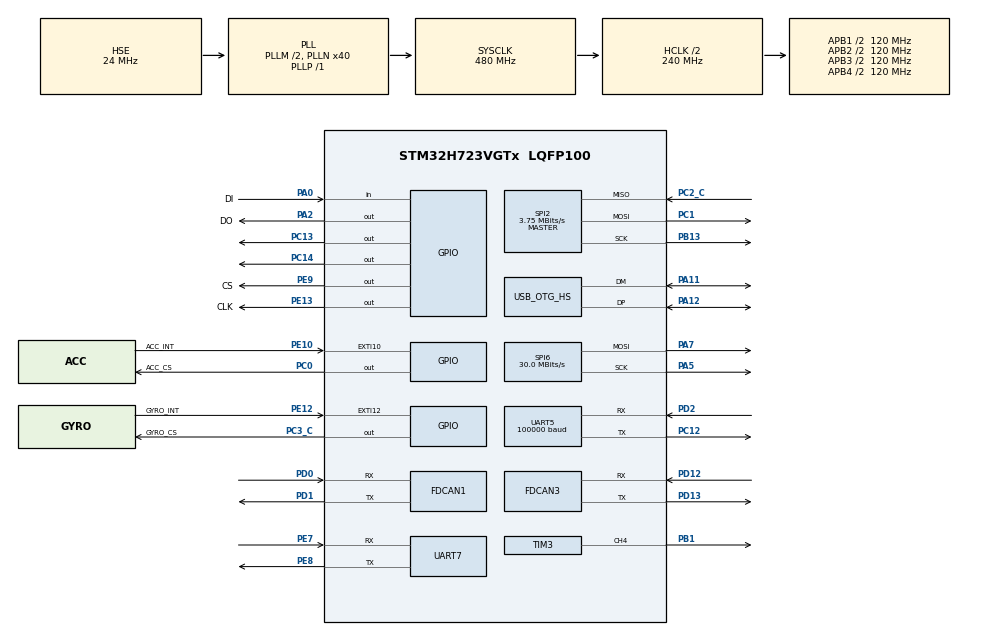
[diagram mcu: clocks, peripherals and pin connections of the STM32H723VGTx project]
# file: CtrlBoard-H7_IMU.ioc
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Dma.Request0=SPI2_RX
Dma.Request1=SPI2_TX
Dma.Request2=UART5_RX
Dma.Request3=UART7_RX
Dma.SPI2_RX.0.Direction=DMA_PERIPH_TO_MEMORY
Dma.SPI2_RX.0.EventEnable=DISABLE
Dma.SPI2_RX.0.FIFOMode=DMA_FIFOMODE_DISABLE
Dma.SPI2_RX.0.Instance=DMA1_Stream0
Dma.SPI2_RX.0.MemDataAlignment=DMA_MDATAALIGN_BYTE
Dma.SPI2_RX.0.MemInc=DMA_MINC_ENABLE
Dma.SPI2_RX.0.Mode=DMA_NORMAL
Dma.SPI2_RX.0.PeriphDataAlignment=DMA_PDATAALIGN_BYTE
Dma.SPI2_RX.0.PeriphInc=DMA_PINC_DISABLE
Dma.SPI2_RX.0.Polarity=HAL_DMAMUX_REQ_GEN_RISING
Dma.SPI2_RX.0.Priority=DMA_PRIORITY_VERY_HIGH
Dma.SPI2_RX.0.RequestNumber=1
Dma.SPI2_RX.0.SignalID=NONE
Dma.SPI2_RX.0.SyncEnable=DISABLE
Dma.SPI2_RX.0.SyncPolarity=HAL_DMAMUX_SYNC_NO_EVENT
Dma.SPI2_RX.0.SyncRequestNumber=1
Dma.SPI2_RX.0.SyncSignalID=NONE
Dma.SPI2_TX.1.Direction=DMA_MEMORY_TO_PERIPH
Dma.SPI2_TX.1.EventEnable=DISABLE
Dma.SPI2_TX.1.FIFOMode=DMA_FIFOMODE_DISABLE
Dma.SPI2_TX.1.Instance=DMA1_Stream1
Dma.SPI2_TX.1.MemDataAlignment=DMA_MDATAALIGN_BYTE
Dma.SPI2_TX.1.MemInc=DMA_MINC_ENABLE
Dma.SPI2_TX.1.Mode=DMA_NORMAL
Dma.SPI2_TX.1.PeriphDataAlignment=DMA_PDATAALIGN_BYTE
Dma.SPI2_TX.1.PeriphInc=DMA_PINC_DISABLE
Dma.SPI2_TX.1.Polarity=HAL_DMAMUX_REQ_GEN_RISING
Dma.SPI2_TX.1.Priority=DMA_PRIORITY_HIGH
Dma.SPI2_TX.1.RequestNumber=1
Dma.SPI2_TX.1.SignalID=NONE
Dma.SPI2_TX.1.SyncEnable=DISABLE
Dma.SPI2_TX.1.SyncPolarity=HAL_DMAMUX_SYNC_NO_EVENT
Dma.SPI2_TX.1.SyncRequestNumber=1
Dma.SPI2_TX.1.SyncSignalID=NONE
Dma.UART5_RX.2.Direction=DMA_PERIPH_TO_MEMORY
Dma.UART5_RX.2.EventEnable=DISABLE
Dma.UART5_RX.2.FIFOMode=DMA_FIFOMODE_DISABLE
Dma.UART5_RX.2.Instance=DMA1_Stream2
Dma.UART5_RX.2.MemDataAlignment=DMA_MDATAALIGN_BYTE
Dma.UART5_RX.2.MemInc=DMA_MINC_ENABLE
Dma.UART5_RX.2.Mode=DMA_NORMAL
Dma.UART5_RX.2.PeriphDataAlignment=DMA_PDATAALIGN_BYTE
Dma.UART5_RX.2.PeriphInc=DMA_PINC_DISABLE
Dma.UART5_RX.2.Polarity=HAL_DMAMUX_REQ_GEN_RISING
Dma.UART5_RX.2.Priority=DMA_PRIORITY_HIGH
Dma.UART5_RX.2.RequestNumber=1
Dma.UART5_RX.2.SignalID=NONE
Dma.UART5_RX.2.SyncEnable=DISABLE
Dma.UART5_RX.2.SyncPolarity=HAL_DMAMUX_SYNC_NO_EVENT
Dma.UART5_RX.2.SyncRequestNumber=1
Dma.UART5_RX.2.SyncSignalID=NONE
Dma.UART7_RX.3.Direction=DMA_PERIPH_TO_MEMORY
Dma.UART7_RX.3.EventEnable=DISABLE
Dma.UART7_RX.3.FIFOMode=DMA_FIFOMODE_DISABLE
Dma.UART7_RX.3.Instance=DMA1_Stream3
Dma.UART7_RX.3.MemDataAlignment=DMA_MDATAALIGN_BYTE
Dma.UART7_RX.3.MemInc=DMA_MINC_ENABLE
Dma.UART7_RX.3.Mode=DMA_NORMAL
Dma.UART7_RX.3.PeriphDataAlignment=DMA_PDATAALIGN_BYTE
Dma.UART7_RX.3.PeriphInc=DMA_PINC_DISABLE
Dma.UART7_RX.3.Polarity=HAL_DMAMUX_REQ_GEN_RISING
Dma.UART7_RX.3.Priority=DMA_PRIORITY_LOW
Dma.UART7_RX.3.RequestNumber=1
Dma.UART7_RX.3.SignalID=NONE
Dma.UART7_RX.3.SyncEnable=DISABLE
Dma.UART7_RX.3.SyncPolarity=HAL_DMAMUX_SYNC_NO_EVENT
Dma.UART7_RX.3.SyncRequestNumber=1
Dma.UART7_RX.3.SyncSignalID=NONE
FDCAN1.CalculateBaudRateNominal=1000000
FDCAN1.CalculateTimeBitNominal=1000
FDCAN1.CalculateTimeQuantumNominal=200.0
FDCAN1.DataPrescaler=1
FDCAN1.DataSyncJumpWidth=5
FDCAN1.DataTimeSeg1=14
FDCAN1.DataTimeSeg2=5
FDCAN1.ExtFiltersNbr=0
FDCAN1.FrameFormat=FDCAN_FRAME_FD_BRS
FDCAN1.NominalPrescaler=24
FDCAN1.NominalSyncJumpWidth=5
FDCAN1.NominalTimeSeg1=2
FDCAN1.NominalTimeSeg2=2
FDCAN1.ProtocolException=DISABLE
FDCAN1.RxFifo0ElmtSize=FDCAN_DATA_BYTES_8
FDCAN1.RxFifo0ElmtsNbr=0
FDCAN1.RxFifo1ElmtSize=FDCAN_DATA_BYTES_8
FDCAN1.RxFifo1ElmtsNbr=8
FDCAN1.StdFiltersNbr=1
FDCAN1.TxElmtSize=FDCAN_DATA_BYTES_8
FDCAN1.TxFifoQueueElmtsNbr=32
FDCAN3.CalculateBaudRateNominal=1000000
FDCAN3.CalculateTimeBitNominal=1000
FDCAN3.CalculateTimeQuantumNominal=200.0
FDCAN3.DataPrescaler=5
FDCAN3.DataSyncJumpWidth=1
FDCAN3.DataTimeSeg1=14
FDCAN3.DataTimeSeg2=5
FDCAN3.ExtFiltersNbr=5
FDCAN3.MessageRAMOffset=854
FDCAN3.NominalPrescaler=24
FDCAN3.NominalSyncJumpWidth=1
FDCAN3.NominalTimeSeg1=2
FDCAN3.NominalTimeSeg2=2
FDCAN3.ProtocolException=DISABLE
FDCAN3.RxFifo0ElmtsNbr=8
FDCAN3.RxFifo1ElmtsNbr=0
FDCAN3.StdFiltersNbr=5
FDCAN3.TransmitPause=DISABLE
FDCAN3.TxElmtSize=FDCAN_DATA_BYTES_8
FDCAN3.TxFifoQueueElmtsNbr=32
FREERTOS.MEMORY_ALLOCATION=0
FREERTOS.Tasks01=defaultTask,0,128,StartDefaultTask,Default,NULL,Dynamic,NULL,NULL;INS_TASK,3,512,INS_Task,Default,NULL,Dynamic,NULL,NULL;CHASSISR_TASK,1,512,ChassisR_Task,Default,NULL,Dynamic,NULL,NULL;CHASSISL_TASK,1,512,ChassisL_Task,Default,NULL,Dynamic,NULL,NULL;OBSERVE_TASK,2,512,OBSERVE_Task,Default,NULL,Dynamic,NULL,NULL;PS2_TASK,1,128,PS2_Task,Default,NULL,Dynamic,NULL,NULL;GIMBAL_TASK,1,128,gimbal_task,Default,NULL,Dynamic,NULL,NULL
FREERTOS.configENABLE_FPU=1
FREERTOS.configTOTAL_HEAP_SIZE=30720
Mcu.Family=STM32H7
Mcu.Name=STM32H723VGTx
Mcu.Package=LQFP100
NVIC.DMA1_Stream0_IRQn=true\:6\:0\:true\:false\:true\:true\:false\:true\:true
NVIC.DMA1_Stream1_IRQn=true\:6\:0\:true\:false\:true\:true\:false\:true\:true
NVIC.DMA1_Stream2_IRQn=true\:5\:0\:false\:false\:true\:true\:false\:true\:true
NVIC.DMA1_Stream3_IRQn=true\:5\:0\:false\:false\:true\:true\:false\:true\:true
NVIC.FDCAN1_IT0_IRQn=true\:6\:0\:true\:false\:true\:true\:true\:true\:true
NVIC.FDCAN1_IT1_IRQn=true\:5\:0\:false\:false\:true\:true\:true\:true\:true
NVIC.FDCAN3_IT0_IRQn=true\:5\:0\:false\:false\:true\:true\:true\:true\:true
NVIC.FDCAN3_IT1_IRQn=true\:5\:0\:false\:false\:true\:true\:true\:true\:true
NVIC.OTG_HS_IRQn=true\:5\:0\:false\:false\:true\:true\:false\:true\:true
NVIC.PriorityGroup=NVIC_PRIORITYGROUP_4
NVIC.SPI2_IRQn=true\:5\:0\:true\:false\:true\:true\:false\:true\:true
NVIC.TIM2_IRQn=true\:15\:0\:false\:false\:true\:false\:false\:true\:true
NVIC.TimeBase=TIM2_IRQn
NVIC.TimeBaseIP=TIM2
NVIC.UART5_IRQn=true\:5\:0\:false\:false\:true\:true\:true\:true\:true
NVIC.UART7_IRQn=true\:5\:0\:false\:false\:true\:true\:true\:true\:true
PA0.GPIO_Label=DI
PA0.GPIO_PuPd=GPIO_PULLUP
PA0.Signal=GPIO_Input
PA11.Mode=Device_Only_FS
PA11.Signal=USB_OTG_HS_DM
PA12.Mode=Device_Only_FS
PA12.Signal=USB_OTG_HS_DP
PA13(JTMS/SWDIO).Mode=Serial_Wire
PA13(JTMS/SWDIO).Signal=DEBUG_JTMS-SWDIO
PA14(JTCK/SWCLK).Mode=Serial_Wire
PA14(JTCK/SWCLK).Signal=DEBUG_JTCK-SWCLK
PA2.GPIO_Label=DO
PA2.GPIO_PuPd=GPIO_PULLUP
PA2.GPIO_Speed=GPIO_SPEED_FREQ_VERY_HIGH
PA2.PinState=GPIO_PIN_SET
PA2.Signal=GPIO_Output
PA5.Mode=TX_Only_Simplex_Unidirect_Master
PA5.Signal=SPI6_SCK
PA7.Mode=TX_Only_Simplex_Unidirect_Master
PA7.Signal=SPI6_MOSI
PB1.Signal=S_TIM3_CH4
PB13.GPIO_Speed=GPIO_SPEED_FREQ_VERY_HIGH
PB13.Mode=Full_Duplex_Master
PB13.Signal=SPI2_SCK
PB5.Signal=FDCAN2_RX
PC0.GPIO_Label=ACC_CS
PC0.GPIO_Speed=GPIO_SPEED_FREQ_VERY_HIGH
PC0.PinState=GPIO_PIN_SET
PC0.Signal=GPIO_Output
PC1.GPIO_Speed=GPIO_SPEED_FREQ_VERY_HIGH
PC1.Mode=Full_Duplex_Master
PC1.Signal=SPI2_MOSI
PC12.Mode=Asynchronous
PC12.Signal=UART5_TX
PC13.Signal=GPIO_Output
PC14-OSC32_IN.Signal=GPIO_Output
PC2_C.GPIO_Speed=GPIO_SPEED_FREQ_VERY_HIGH
PC2_C.Mode=Full_Duplex_Master
PC2_C.Signal=SPI2_MISO
PC3_C.GPIO_Label=GYRO_CS
PC3_C.GPIO_Speed=GPIO_SPEED_FREQ_VERY_HIGH
PC3_C.PinState=GPIO_PIN_SET
PC3_C.Signal=GPIO_Output
PD0.Mode=FDCAN_Activate
PD0.Signal=FDCAN1_RX
PD1.Mode=FDCAN_Activate
PD1.Signal=FDCAN1_TX
PD12.Mode=FDCAN_Activate
PD12.Signal=FDCAN3_RX
PD13.Mode=FDCAN_Activate
PD13.Signal=FDCAN3_TX
PD2.Mode=Asynchronous
PD2.Signal=UART5_RX
PE10.GPIO_Label=ACC_INT
PE10.Signal=GPXTI10
PE12.GPIO_Label=GYRO_INT
PE12.Signal=GPXTI12
PE13.GPIO_Label=CLK
PE13.GPIO_PuPd=GPIO_PULLUP
PE13.GPIO_Speed=GPIO_SPEED_FREQ_VERY_HIGH
PE13.PinState=GPIO_PIN_SET
PE13.Signal=GPIO_Output
PE7.Mode=Asynchronous
PE7.Signal=UART7_RX
PE8.Mode=Asynchronous
PE8.Signal=UART7_TX
PE9.GPIO_Label=CS
PE9.GPIO_PuPd=GPIO_PULLUP
PE9.GPIO_Speed=GPIO_SPEED_FREQ_VERY_HIGH
PE9.PinState=GPIO_PIN_SET
PE9.Signal=GPIO_Output
PH0-OSC_IN.Mode=HSE-External-Oscillator
PH0-OSC_IN.Signal=RCC_OSC_IN
PH1-OSC_OUT.Mode=HSE-External-Oscillator
PH1-OSC_OUT.Signal=RCC_OSC_OUT
ProjectManager.HeapSize=0x200
ProjectManager.StackSize=0x800
ProjectManager.TargetToolchain=MDK-ARM V5.27
RCC.ADCFreq_Value=96000000
RCC.APB1Freq_Value=120000000
RCC.APB2Freq_Value=120000000
RCC.APB3Freq_Value=120000000
RCC.APB4Freq_Value=120000000
RCC.CortexFreq_Value=480000000
RCC.D1PPRE=RCC_APB3_DIV2
RCC.D2PPRE1=RCC_APB1_DIV2
RCC.D2PPRE2=RCC_APB2_DIV2
RCC.D3PPRE=RCC_APB4_DIV2
RCC.DIVM1=2
RCC.DIVM2=2
RCC.DIVN1=40
RCC.DIVN2=16
RCC.DIVP1=1
RCC.DIVQ1=4
RCC.HCLKFreq_Value=240000000
RCC.HPRE=RCC_HCLK_DIV2
RCC.HSE_VALUE=24000000
RCC.PLL2FRACN=0
RCC.PLL2_VCO_SEL-AdvancedSettings=RCC_PLL2VCOMEDIUM
RCC.PLL3FRACN=0
RCC.PLLFRACN=0
RCC.PLLSourceVirtual=RCC_PLLSOURCE_HSE
RCC.SYSCLKFreq_VALUE=480000000
RCC.SYSCLKSource=RCC_SYSCLKSOURCE_PLLCLK
RCC.USBCLockSelection=RCC_USBCLKSOURCE_HSI48
RCC.USBFreq_Value=48000000
SH.S_TIM3_CH4.0=TIM3_CH4,PWM Generation4 CH4
SPI2.BaudRatePrescaler=SPI_BAUDRATEPRESCALER_32
SPI2.CLKPhase=SPI_PHASE_2EDGE
SPI2.CLKPolarity=SPI_POLARITY_HIGH
SPI2.CalculateBaudRate=3.75 MBits/s
SPI2.DataSize=SPI_DATASIZE_8BIT
SPI2.Direction=SPI_DIRECTION_2LINES
SPI2.Mode=SPI_MODE_MASTER
SPI2.VirtualType=VM_MASTER
SPI6.BaudRatePrescaler=SPI_BAUDRATEPRESCALER_4
SPI6.CLKPhase=SPI_PHASE_2EDGE
SPI6.CalculateBaudRate=30.0 MBits/s
SPI6.DataSize=SPI_DATASIZE_8BIT
SPI6.Direction=SPI_DIRECTION_2LINES_TXONLY
SPI6.Mode=SPI_MODE_MASTER
SPI6.VirtualType=VM_MASTER
TIM3.AutoReloadPreload=TIM_AUTORELOAD_PRELOAD_ENABLE
TIM3.Channel-PWM\ Generation4\ CH4=TIM_CHANNEL_4
TIM3.Period=10000-1
TIM3.Prescaler=24-1
UART5.BaudRate=100000
UART5.Mode=MODE_RX
UART5.OverrunDisableParam=UART_ADVFEATURE_OVERRUN_DISABLE
UART5.Parity=PARITY_EVEN
UART5.WordLength=WORDLENGTH_9B
UART7.OverrunDisableParam=UART_ADVFEATURE_OVERRUN_DISABLE
USB_DEVICE.CLASS_NAME_HS=CDC
USB_DEVICE.VirtualMode=Cdc
USB_DEVICE.VirtualModeHS=Cdc_HS
USB_OTG_HS.VirtualMode-Device_Only_FS=Device_Only_FS
VP_FREERTOS_VS_CMSIS_V1.Mode=CMSIS_V1
VP_SYS_VS_tim2.Mode=TIM2
VP_USB_DEVICE_VS_USB_DEVICE_CDC_HS.Mode=CDC_HS
board=custom

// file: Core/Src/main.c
/* USER CODE BEGIN Header */
/**
  ******************************************************************************
  * @file           : main.c
  * @brief          : Main program body
  ******************************************************************************
  * @attention
  *
  * Copyright (c) 2024 STMicroelectronics.
  * All rights reserved.
  *
  * This software is licensed under terms that can be found in the LICENSE file
  * in the root directory of this software component.
  * If no LICENSE file comes with this software, it is provided AS-IS.
  *
  ******************************************************************************
  */
/* USER CODE END Header */
#include "main.h"
#include "cmsis_os.h"
#include "dma.h"
#include "fdcan.h"
#include "spi.h"
#include "tim.h"
#include "usart.h"
#include "usb_device.h"
#include "gpio.h"

/* USER CODE BEGIN Includes */
#include "BMI088driver.h"
#include "kalman_filter.h"
#include "mahony_filter.h"
#include "bsp_dwt.h"
#include "BMI088Middleware.h"
#include "can_bsp.h"
#include "chassisR_task.h"
#include "ps2_task.h"
#include "gimbal_task.h"
#include "ws2812.h"
/* USER CODE END Includes */

void SystemClock_Config(void);
void MX_FREERTOS_Init(void);

/* USER CODE BEGIN 0 */
extern chassis_t chassis_move;
/* USER CODE END 0 */

int main(void)
{

  /* MCU Configuration--------------------------------------------------------*/

  /* Reset of all peripherals, Initializes the Flash interface and the Systick. */
  HAL_Init();

  /* USER CODE BEGIN Init */
//06 01 00 00 00 00 00 00 00 00 00 00 00 00 80 3F
  /* USER CODE END Init */

  /* Configure the system clock */
  SystemClock_Config();

  /* Initialize all configured peripherals */
  MX_GPIO_Init();
  MX_DMA_Init();
  MX_SPI2_Init();
  MX_FDCAN1_Init();
  MX_TIM3_Init();
  MX_FDCAN3_Init();
  MX_UART5_Init();
  MX_UART7_Init();
  MX_SPI6_Init();
  /* USER CODE BEGIN 2 */
  Power_OUT1_OFF;
  Power_OUT2_OFF;
	HAL_Delay (3000);
	DWT_Init(480);

    /* BMI088��ʼ�� */
  while (BMI088_init(&hspi2, 0) != BMI088_NO_ERROR)
	{
	  ;
	}

    FDCAN1_Config();//can��������ʼ��
	FDCAN3_Config();
	chassis_move.leg_set = LEG_INIT;
	chassis_move.x_set = 0 ;
	chassis_move.v_set = 0 ;
	chassis_move . turn_set - chassis_move . total_yaw;
	chassis_move.roll_set = ROLL_TARGET;

  /* USER CODE END 2 */

  /* Call init function for freertos objects (in cmsis_os2.c) */
  MX_FREERTOS_Init();

  /* Start scheduler */
  osKernelStart();

  /* We should never get here as control is now taken by the scheduler */

  /* Infinite loop */
  while (1)
  {

  }
}

void SystemClock_Config(void)
{
  RCC_OscInitTypeDef RCC_OscInitStruct = {0};
  RCC_ClkInitTypeDef RCC_ClkInitStruct = {0};

  /** Supply configuration update enable
  */
  HAL_PWREx_ConfigSupply(PWR_LDO_SUPPLY);

  /** Configure the main internal regulator output voltage
  */
  __HAL_PWR_VOLTAGESCALING_CONFIG(PWR_REGULATOR_VOLTAGE_SCALE0);

  while(!__HAL_PWR_GET_FLAG(PWR_FLAG_VOSRDY)) {}

  /** Initializes the RCC Oscillators according to the specified parameters
  * in the RCC_OscInitTypeDef structure.
  */
  RCC_OscInitStruct.OscillatorType = RCC_OSCILLATORTYPE_HSI48|RCC_OSCILLATORTYPE_HSE;
  RCC_OscInitStruct.HSEState = RCC_HSE_ON;
  RCC_OscInitStruct.HSI48State = RCC_HSI48_ON;
  RCC_OscInitStruct.PLL.PLLState = RCC_PLL_ON;
  RCC_OscInitStruct.PLL.PLLSource = RCC_PLLSOURCE_HSE;
  RCC_OscInitStruct.PLL.PLLM = 2;
  RCC_OscInitStruct.PLL.PLLN = 40;
  RCC_OscInitStruct.PLL.PLLP = 1;
  RCC_OscInitStruct.PLL.PLLQ = 4;
  RCC_OscInitStruct.PLL.PLLR = 2;
  RCC_OscInitStruct.PLL.PLLRGE = RCC_PLL1VCIRANGE_3;
  RCC_OscInitStruct.PLL.PLLVCOSEL = RCC_PLL1VCOWIDE;
  RCC_OscInitStruct.PLL.PLLFRACN = 0;
  if (HAL_RCC_OscConfig(&RCC_OscInitStruct) != HAL_OK)
  {
    Error_Handler();
  }

  /** Initializes the CPU, AHB and APB buses clocks
  */
  RCC_ClkInitStruct.ClockType = RCC_CLOCKTYPE_HCLK|RCC_CLOCKTYPE_SYSCLK
                              |RCC_CLOCKTYPE_PCLK1|RCC_CLOCKTYPE_PCLK2
                              |RCC_CLOCKTYPE_D3PCLK1|RCC_CLOCKTYPE_D1PCLK1;
  RCC_ClkInitStruct.SYSCLKSource = RCC_SYSCLKSOURCE_PLLCLK;
  RCC_ClkInitStruct.SYSCLKDivider = RCC_SYSCLK_DIV1;
  RCC_ClkInitStruct.AHBCLKDivider = RCC_HCLK_DIV2;
  RCC_ClkInitStruct.APB3CLKDivider = RCC_APB3_DIV2;
  RCC_ClkInitStruct.APB1CLKDivider = RCC_APB1_DIV2;
  RCC_ClkInitStruct.APB2CLKDivider = RCC_APB2_DIV2;
  RCC_ClkInitStruct.APB4CLKDivider = RCC_APB4_DIV2;

  if (HAL_RCC_ClockConfig(&RCC_ClkInitStruct, FLASH_LATENCY_3) != HAL_OK)
  {
    Error_Handler();
  }
}

void HAL_TIM_PeriodElapsedCallback(TIM_HandleTypeDef *htim)
{
  if (htim->Instance == TIM2) {
    HAL_IncTick();
  }
}

void Error_Handler(void)
{
  __disable_irq();
  while (1)
  {
  }
}

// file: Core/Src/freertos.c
/* USER CODE BEGIN Header */
/**
  ******************************************************************************
  * File Name          : freertos.c
  * Description        : Code for freertos applications
  ******************************************************************************
  * @attention
  *
  * Copyright (c) 2024 STMicroelectronics.
  * All rights reserved.
  *
  * This software is licensed under terms that can be found in the LICENSE file
  * in the root directory of this software component.
  * If no LICENSE file comes with this software, it is provided AS-IS.
  *
  ******************************************************************************
  */
/* USER CODE END Header */

#include "FreeRTOS.h"
#include "task.h"
#include "main.h"
#include "cmsis_os.h"

/* USER CODE BEGIN Includes */
#include "INS_task.h"
#include "chassisR_task.h"
#include "chassisL_task.h"
#include "observe_task.h"
#include "ps2_task.h"
#include "gimbal_task.h"
/* USER CODE END Includes */

/* USER CODE BEGIN PD */
extern chassis_t chassis_move;
/* USER CODE END PD */

osThreadId defaultTaskHandle;
osThreadId INS_TASKHandle;
osThreadId CHASSISR_TASKHandle;
osThreadId CHASSISL_TASKHandle;
osThreadId OBSERVE_TASKHandle;
osThreadId PS2_TASKHandle;
osThreadId GIMBAL_TASKHandle;

void StartDefaultTask(void const * argument);
void INS_Task(void const * argument);
void ChassisR_Task(void const * argument);
void ChassisL_Task(void const * argument);
void OBSERVE_Task(void const * argument);
void PS2_Task(void const * argument);
void gimbal_task(void const * argument);

extern void MX_USB_DEVICE_Init(void);
void MX_FREERTOS_Init(void); /* (MISRA C 2004 rule 8.1) */

void MX_FREERTOS_Init(void) {

  /* Create the thread(s) */
  /* definition and creation of defaultTask */
  osThreadDef(defaultTask, StartDefaultTask, osPriorityNormal, 0, 128);
  defaultTaskHandle = osThreadCreate(osThread(defaultTask), NULL);

  /* definition and creation of INS_TASK */
  osThreadDef(INS_TASK, INS_Task, osPriorityRealtime, 0, 512);
  INS_TASKHandle = osThreadCreate(osThread(INS_TASK), NULL);

  /* definition and creation of CHASSISR_TASK */
  osThreadDef(CHASSISR_TASK, ChassisR_Task, osPriorityAboveNormal, 0, 512);
  CHASSISR_TASKHandle = osThreadCreate(osThread(CHASSISR_TASK), NULL);

  /* definition and creation of CHASSISL_TASK */
  osThreadDef(CHASSISL_TASK, ChassisL_Task, osPriorityAboveNormal, 0, 512);
  CHASSISL_TASKHandle = osThreadCreate(osThread(CHASSISL_TASK), NULL);

  /* definition and creation of OBSERVE_TASK */
  osThreadDef(OBSERVE_TASK, OBSERVE_Task, osPriorityHigh, 0, 512);
  OBSERVE_TASKHandle = osThreadCreate(osThread(OBSERVE_TASK), NULL);

  /* definition and creation of PS2_TASK */
  osThreadDef(PS2_TASK, PS2_Task, osPriorityAboveNormal, 0, 128);
  PS2_TASKHandle = osThreadCreate(osThread(PS2_TASK), NULL);

  /* definition and creation of GIMBAL_TASK */
  osThreadDef(GIMBAL_TASK, gimbal_task, osPriorityAboveNormal, 0, 128);
  GIMBAL_TASKHandle = osThreadCreate(osThread(GIMBAL_TASK), NULL);

}

void StartDefaultTask(void const * argument)
{
  /* init code for USB_DEVICE */
  MX_USB_DEVICE_Init();
  /* USER CODE BEGIN StartDefaultTask */

	/* Infinite loop */
	for (;;) {
		osDelay (200);
	}
  /* USER CODE END StartDefaultTask */
}

void INS_Task(void const * argument)
{
  /* USER CODE BEGIN INS_Task */

	/* Infinite loop */
	for (;;) {
		INS_task ();
	}
  /* USER CODE END INS_Task */
}

void ChassisR_Task(void const * argument)
{
  /* USER CODE BEGIN ChassisR_Task */
	/* Infinite loop */
	for (;;) {
		ChassisR_task ();
	}
  /* USER CODE END ChassisR_Task */
}

void ChassisL_Task(void const * argument)
{
  /* USER CODE BEGIN ChassisL_Task */
	/* Infinite loop */
	for (;;) {
		ChassisL_task ();
	}
  /* USER CODE END ChassisL_Task */
}

void OBSERVE_Task(void const * argument)
{
  /* USER CODE BEGIN OBSERVE_Task */
	/* Infinite loop */
	for (;;) {
		Observe_task ();
	}
  /* USER CODE END OBSERVE_Task */
}

void PS2_Task(void const * argument)
{
  /* USER CODE BEGIN PS2_Task */
	/* Infinite loop */
	for (;;) {
		pstwo_task ();
	}
  /* USER CODE END PS2_Task */
}

void gimbal_task(void const * argument)
{
  /* USER CODE BEGIN gimbal_task */
  /* Infinite loop */
  for(;;)
  {
	  my_gimbal_task ();
  }
  /* USER CODE END gimbal_task */
}
